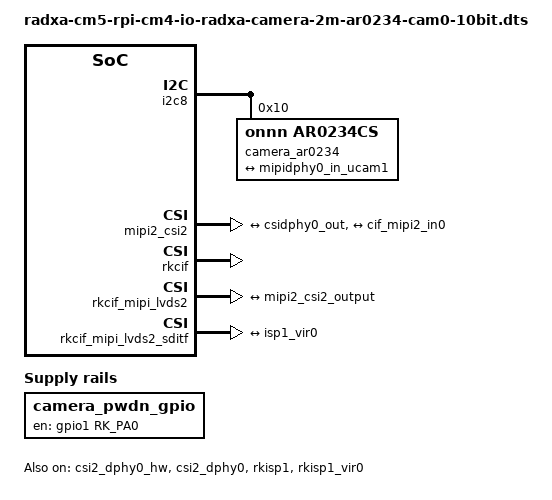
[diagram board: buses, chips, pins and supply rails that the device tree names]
/dts-v1/;
/plugin/;

#include <dt-bindings/gpio/gpio.h>
#include <dt-bindings/pinctrl/rockchip.h>

/ {
	metadata {
		title = "Enable Radxa Camera 2M AR0234 with RAW10 format on CAM0";
		compatible = "radxa,cm5-rpi-cm4-io";
		category = "camera";
		exclusive = "GPIO1_A0", "csi2_dphy0", "i2c8";
		description = "Enable Radxa Camera 2M AR0234 with RAW10 format on CAM0.";
	};
};

&{/} {
	camera_pwdn_gpio: camera-pwdn-gpio {
		compatible = "regulator-fixed";
		regulator-name = "camera_pwdn_gpio";
		regulator-always-on;
		regulator-boot-on;
		enable-active-high;
		gpio = <&gpio1 RK_PA0 GPIO_ACTIVE_HIGH>;
		pinctrl-names = "default";
		pinctrl-0 = <&cam_pwdn_gpio>;
	};
};

&i2c8 {
	status = "okay";
	pinctrl-0 = <&i2c8m2_xfer>;
	#address-cells = <1>;
	#size-cells = <0>;

	camera_ar0234: camera-ar0234@10 {
		status = "okay";
		compatible = "onnn,ar0234cs";
		reg = <0x10>;
		rockchip,camera-module-index = <0>;
		rockchip,camera-module-facing = "back";
		rockchip,camera-module-name = "default";
		rockchip,camera-module-lens-name = "default";

		port {
			ar0234_out0: endpoint {
				remote-endpoint = <&mipidphy0_in_ucam1>;
				data-lanes = <1 2>;
				link-frequencies = /bits/ 64 <450000000>;
			};
		};
	};
};

&csi2_dphy0_hw {
	status = "okay";
};

&csi2_dphy0 {
	status = "okay";

	ports {
		#address-cells = <1>;
		#size-cells = <0>;

		port@0 {
			reg = <0>;
			#address-cells = <1>;
			#size-cells = <0>;

			mipidphy0_in_ucam1: endpoint@2 {
				reg = <2>;
				remote-endpoint = <&ar0234_out0>;
				data-lanes = <1 2>;
			};
		};

		port@1 {
			reg = <1>;
			#address-cells = <1>;
			#size-cells = <0>;

			csidphy0_out: endpoint@0 {
				reg = <0>;
				remote-endpoint = <&mipi2_csi2_input>;
			};
		};
	};
};

&mipi2_csi2 {
	status = "okay";

	ports {
		#address-cells = <1>;
		#size-cells = <0>;

		port@0 {
			reg = <0>;
			#address-cells = <1>;
			#size-cells = <0>;

			mipi2_csi2_input: endpoint@1 {
				reg = <1>;
				remote-endpoint = <&csidphy0_out>;
			};
		};

		port@1 {
			reg = <1>;
			#address-cells = <1>;
			#size-cells = <0>;

			mipi2_csi2_output: endpoint@0 {
				reg = <0>;
				remote-endpoint = <&cif_mipi2_in0>;
			};
		};
	};
};

&rkcif {
	status = "okay";
};

&rkcif_mipi_lvds2 {
	status = "okay";

	port {
		cif_mipi2_in0: endpoint {
			remote-endpoint = <&mipi2_csi2_output>;
		};
	};
};

&rkcif_mipi_lvds2_sditf {
	status = "okay";

	port {
		mipi_lvds2_sditf: endpoint {
			remote-endpoint = <&isp1_vir0>;
		};
	};
};

&rkcif_mmu {
	status = "okay";
};

&isp1_mmu {
	status = "okay";
};

&rkisp1 {
	status = "okay";
};

&rkisp1_vir0 {
	status = "okay";

	port {
		#address-cells = <1>;
		#size-cells = <0>;

		isp1_vir0: endpoint@0 {
			reg = <0>;
			remote-endpoint = <&mipi_lvds2_sditf>;
		};
	};
};

&pinctrl {
	camera {
		cam_pwdn_gpio: cam-pwdn-gpio {
			rockchip,pins = <1 RK_PA0 RK_FUNC_GPIO &pcfg_pull_up>;
		};
	};
};
